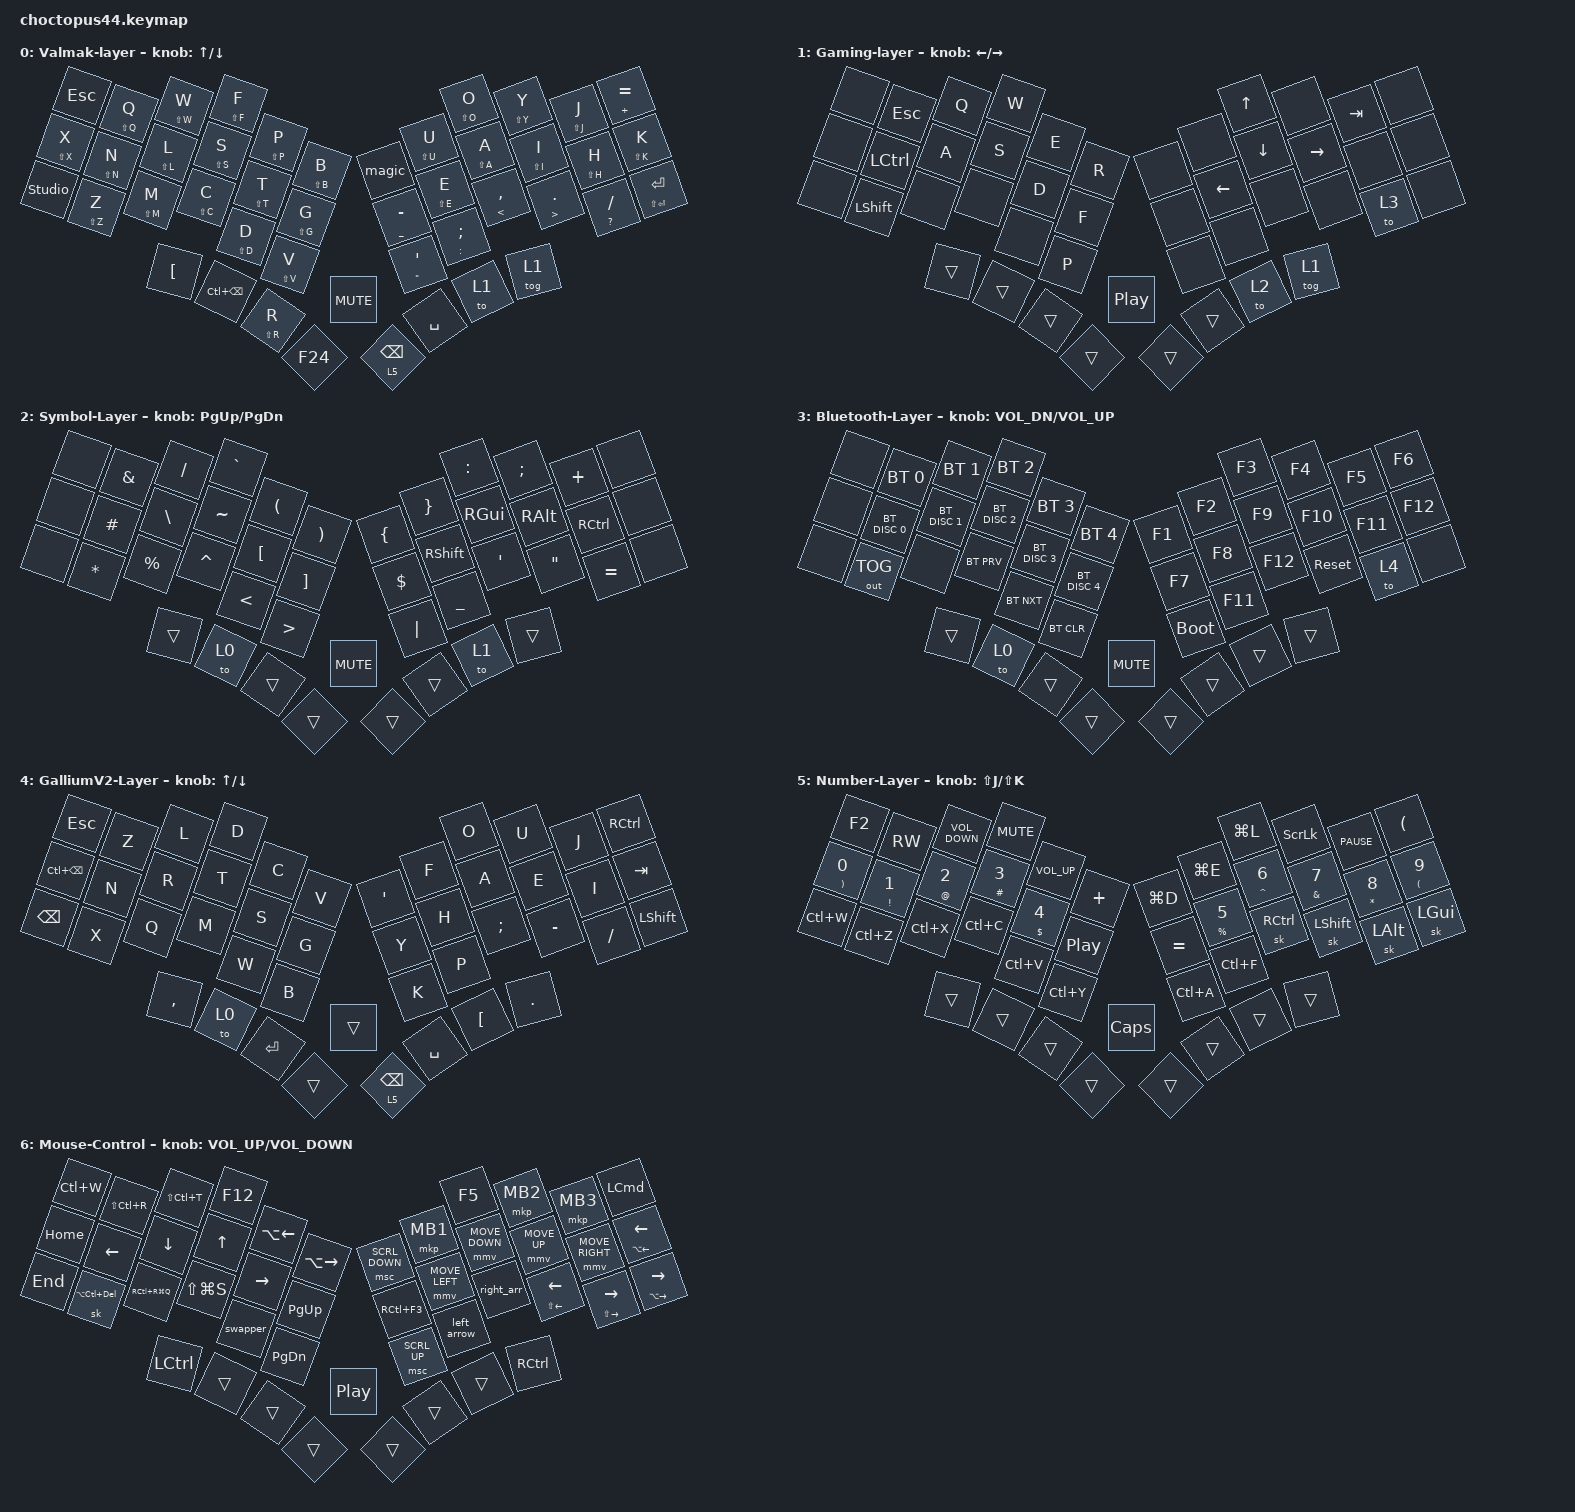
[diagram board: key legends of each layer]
/*
 * Copyright (c) 2021 The ZMK Contributors
 *
 * SPDX-License-Identifier: MIT
 */

#include <dt-bindings/zmk/mouse.h>
#include <behaviors.dtsi>
#include <dt-bindings/zmk/bt.h>
#include <dt-bindings/zmk/keys.h>
#include <dt-bindings/zmk/outputs.h>
#include <dt-bindings/zmk/pointing.h>

#define COMBO_TIMEOUT 60
#define BT0 BT_SEL 0
#define BT1 BT_SEL 1
#define BT2 BT_SEL 2
#define BT3 BT_SEL 3
#define BT4 BT_SEL 4

// ============================================================
// MAGIC KEY — requires zmk-adaptive-key module by urob
// Add to west.yml:
//   remotes:
//     - name: urob
//       url-base: https://github.com/urob
//   projects:
//     - name: zmk-adaptive-key
//       remote: urob
//       revision: v0.3   ← match your ZMK version
// ============================================================

&mt { tapping-term-ms = <500>; };

&lt { tapping-term-ms = <180>; };

&sk {
    release-after-ms = <3000>;
    quick-release;
};

&caps_word { continue-list = <UNDERSCORE MINUS SPACE BACKSPACE>; };

/ {
    combos {
        compatible = "zmk,combos";

        combo-bt_clral {
            bindings = <&bt BT_CLR_ALL>;
            key-positions = <25 26 27 35 34 33>;
        };

        combo-capslock {
            bindings = <&caps_word>;
            key-positions = <29 31>;
        };

        combo-question {
            bindings = <&kp QUESTION>;
            key-positions = <28 29>;
        };

        combo-exclamation {
            bindings = <&kp EXCL>;
            key-positions = <31 32>;
        };

        combo-chinese {
            bindings = <&kp LC(GRAVE)>;
            key-positions = <5 6>;
        };

        combo-winlock {
            bindings = <&kp LG(L)>;
            key-positions = <7 8 9>;
        };

        combo-bt_clear {
            bindings = <&bt BT_CLR>;
            key-positions = <0 29>;
        };

        combo-winswap {
            bindings = <&kp LG(LA(TAB))>;
            key-positions = <4 3 2>;
        };

        combo-Lcontrol {
            bindings = <&kp LEFT_CONTROL>;
            key-positions = <16 28>;
        };

        combo-Rcontrol {
            bindings = <&kp RIGHT_CONTROL>;
            key-positions = <19 32>;
            layers = <0 2 3 4 5 6>;
        };

        combo-Lshift {
            bindings = <&kp LEFT_SHIFT>;
            key-positions = <15 27>;
            layers = <0 2 3 4 5 6>;
        };

        combo-Rshift {
            bindings = <&kp RIGHT_SHIFT>;
            key-positions = <20 33>;
            layers = <0 2 3 4 5 6>;
        };

        combo-Lgui {
            bindings = <&kp LEFT_GUI>;
            key-positions = <14 26>;
        };

        combo-Rgui {
            bindings = <&kp RIGHT_GUI>;
            key-positions = <21 34>;
        };

        combo-Lalt {
            bindings = <&kp LEFT_ALT>;
            key-positions = <13 25>;
        };

        combo-Ralt {
            bindings = <&kp RIGHT_ALT>;
            key-positions = <22 35>;
        };

        combo-tab {
            bindings = <&kp TAB>;
            key-positions = <17 18>;
        };
    };

    // ============================================================
    // MAGIC KEY MACROS
    // Each macro outputs the "alternate" character for a bigram.
    // e.g. after typing N, pressing magic → L  (avoids NL SFB)
    // ============================================================

    macros {
        //personal email (h → uonan2015@gmail.com)

        magic_uo: magic_uo {
            compatible = "zmk,behavior-macro";
            label = "MAGIC_UO";
            #binding-cells = <0>;
            bindings = <&kp U &kp O &kp N &kp A &kp N &kp NUMBER_2 &kp N0 &kp NUMBER_1 &kp NUMBER_5 &kp AT &kp G &kp M &kp A &kp I &kp L &kp DOT &kp C &kp O &kp M>;
        };

        // Trigram briefs (space/enter → THE)

        magic_the: magic_the {
            compatible = "zmk,behavior-macro";
            label = "MAGIC_THE";
            #binding-cells = <0>;
            bindings = <&kp T &kp H &kp E>;
        };

        // I → ON  (covers ION trigram)

        magic_on: magic_on {
            compatible = "zmk,behavior-macro";
            label = "MAGIC_ON";
            #binding-cells = <0>;
            bindings = <&kp O &kp N>;
        };

        // T → MENT

        magic_ment: magic_ment {
            compatible = "zmk,behavior-macro";
            label = "MAGIC_MENT";
            #binding-cells = <0>;
            bindings = <&kp M &kp E &kp N &kp T>;
        };

        // A → ND  (for AND via repeat-key style; also useful standalone)

        magic_nd: magic_nd {
            compatible = "zmk,behavior-macro";
            label = "MAGIC_ND";
            #binding-cells = <0>;
            bindings = <&kp N &kp D>;
        };

        // I → NG  (for ING)

        magic_ng: magic_ng {
            compatible = "zmk,behavior-macro";
            label = "MAGIC_NG";
            #binding-cells = <0>;
            bindings = <&kp N &kp G>;
        };

        // N → YU  (for NYU)

        magic_yu: magic_yu {
            compatible = "zmk,behavior-macro";
            label = "MAGIC_YU";
            #binding-cells = <0>;
            bindings = <&kp Y &kp U>;
        };

        // FOR brief (space/enter alternate — second binding priority)

        magic_for: magic_for {
            compatible = "zmk,behavior-macro";
            label = "MAGIC_FOR";
            #binding-cells = <0>;
            bindings = <&kp F &kp O &kp R>;
        };

        // Period → space + capitalize next letter

        magic_period: magic_period {
            compatible = "zmk,behavior-macro";
            label = "MAGIC_PERIOD";
            #binding-cells = <0>;
            bindings = <&kp SPACE &sk LEFT_SHIFT>;
        };
    };

    behaviors {
        // ============================================================
        // MAGIC KEY BEHAVIOR
        // Placed on the Z key position (bottom-left, left hand).
        // Outputs a context-sensitive alternate character based on
        // the last key typed, targeting Valmak's SFBs.
        //
        // Valmak left hand columns (index→pinky):
        //   index:  R / T / G / D / V
        //   middle: S / L / C / M
        //   ring:   F / N / W
        //   pinky:  P / X / Z (magic replaces Z)
        //
        // Key SFB targets in Valmak:
        //   P → L  
        //   W → N
        //   S → C  (middle finger SC bigram)
        //   C/F → L  
        //   A → O  (vowel alternation)
        //   E → U  (vowel alternation)
        //   I → ON (ION trigram)
        //   T → MENT (suffix brief)
        //   Y → OU  (YOU trigram)
        //   SPACE/RET → THE (trigram brief)
        // ============================================================

        magic: magic_key {
            compatible = "zmk,behavior-adaptive-key";
            label = "MAGIC_KEY";
            #binding-cells = <0>;
            bindings = <&none>;

            ld {
                trigger-keys = <L>;
                bindings = <&kp D>;
            };

            pl {
                trigger-keys = <P>;
                bindings = <&kp L>;
            };

            wn {
                trigger-keys = <W>;
                bindings = <&kp N>;
            };

            // ── SFB eliminations ──────────────────────────────────
            // S → C  (SC same-finger bigram on Valmak middle)

            sc {
                trigger-keys = <S>;
                bindings = <&kp C>;
            };

            // C/F → L  (left-index column → Y, avoids index SFBs)

            cfl {
                trigger-keys = <C F>;
                bindings = <&kp L>;
            };

            // ── Vowel alternations ────────────────────────────────
            // E → U

            eu {
                trigger-keys = <E>;
                bindings = <&kp U>;
            };

            // ── Trigram / suffix briefs ───────────────────────────
            // I → ON  (covers ION)

            ion {
                trigger-keys = <I>;
                bindings = <&magic_on>;
            };

            // H → uonan2015@gmail.com

            hpersonalemail {
                trigger-keys = <H>;
                bindings = <&magic_uo>;
            };

            // A → ND

            and {
                trigger-keys = <A>;
                bindings = <&magic_nd>;
            };

            // T → MENT

            tment {
                trigger-keys = <T>;
                bindings = <&magic_ment>;
            };

            // N → YU  (covers NYU)

            nyu {
                trigger-keys = <N>;
                bindings = <&magic_yu>;
            };

            // SPACE or ENTER → THE

            the {
                trigger-keys = <SPACE RET>;
                bindings = <&magic_the>;
            };

            period {
                trigger-keys = <PERIOD>;
                bindings = <&magic_period>;
            };
        };

        // ============================================================
        // AUTOSHIFT BEHAVIORS
        // ============================================================

        as: autoshift {
            compatible = "zmk,behavior-hold-tap";
            label = "AUTOSHIFT";
            #binding-cells = <2>;
            tapping-term-ms = <220>;
            quick-tap-ms = <0>;
            flavor = "tap-preferred";
            bindings = <&kp>, <&kp>;
        };

        hold_shift: hold_shift {
            compatible = "zmk,behavior-smart-toggle";
            #binding-cells = <0>;
            bindings = <&kp RSHIFT>, <&none>;
        };

        smart_moveline: smart_moveline {
            compatible = "zmk,behavior-smart-toggle";
            #binding-cells = <0>;
            bindings = <&kp RG(RALT)>, <&none>;
        };

        td_esc: tap_dance_esc {
            compatible = "zmk,behavior-tap-dance";
            label = "TAP_DANCE_ESC";
            #binding-cells = <0>;
            tapping-term-ms = <200>;
            bindings = <&kp LALT>, <&kp ESC>;
        };

        hm: homerow_mods {
            compatible = "zmk,behavior-hold-tap";
            label = "HOMEROW_MODS";
            #binding-cells = <2>;
            tapping-term-ms = <400>;
            quick-tap-ms = <0>;
            flavor = "tap-preferred";
            bindings = <&kp>, <&kp>;
        };

        bspc_del: backspace_delete {
            compatible = "zmk,behavior-mod-morph";
            label = "BACKSPACE_DELETE";
            #binding-cells = <0>;
            bindings = <&kp BACKSPACE>, <&kp DELETE>;

            mods = <(MOD_LSFT|MOD_RSFT)>;
        };

        ht_hl: holdtap_homerowlayer {
            compatible = "zmk,behavior-hold-tap";
            label = "HOLDTAP_HOMELAY";
            #binding-cells = <2>;
            tapping-term-ms = <225>;
            flavor = "tap-preferred";
            require-prior-idle-ms = <125>;
            bindings = <&mo>, <&kp>;

            quick-tap-ms = <125>;
        };

        ht_shift: ht_shift {
            compatible = "zmk,behavior-hold-tap";
            label = "HT_SHIFT";
            bindings = <&kp>, <&kp>;

            #binding-cells = <2>;
            tapping-term-ms = <130>;
            flavor = "tap-preferred";
        };

        bsp_word: bsp_word {
            compatible = "zmk,behavior-mod-morph";
            label = "BSP_WORD";
            bindings = <&kp LA(BACKSPACE)>, <&kp LA(DELETE)>;

            #binding-cells = <0>;
            mods = <(MOD_LSFT|MOD_RSFT)>;
        };

        td_semic: td_semic {
            compatible = "zmk,behavior-tap-dance";
            label = "TD_SEMIC";
            #binding-cells = <0>;
            bindings = <&kp COMMA>, <&kp SEMI>;

            tapping-term-ms = <250>;
        };

        td_shiftCW: td_shiftCW {
            compatible = "zmk,behavior-tap-dance";
            label = "TD_SHIFTCW";
            #binding-cells = <0>;
            bindings = <&sk RIGHT_SHIFT>, <&caps_word>;

            tapping-term-ms = <300>;
        };

        left_arrow: left_arrow {
            compatible = "zmk,behavior-tap-dance";
            label = "LEFT_ARROW";
            #binding-cells = <0>;
            bindings = <&kp LEFT>, <&kp LG(LEFT_ARROW)>;

            tapping-term-ms = <225>;
        };

        right_arr: right_arr {
            compatible = "zmk,behavior-tap-dance";
            label = "RIGHT_ARR";
            #binding-cells = <0>;
            bindings = <&kp RIGHT>, <&kp LG(RIGHT)>;

            tapping-term-ms = <225>;
        };

        left_taphold: left_taphold {
            compatible = "zmk,behavior-hold-tap";
            label = "LEFT_TAPHOLD";
            bindings = <&kp>, <&kp>;

            #binding-cells = <2>;
            tapping-term-ms = <250>;
            flavor = "tap-preferred";
        };

        rght_taphold: rght_taphold {
            compatible = "zmk,behavior-hold-tap";
            label = "RGHT_TAPHOLD";
            bindings = <&kp>, <&kp>;

            #binding-cells = <2>;
            tapping-term-ms = <250>;
            flavor = "tap-preferred";
        };

        ht_hyper: ht_hyper {
            compatible = "zmk,behavior-hold-tap";
            label = "HT_HYPER";
            #binding-cells = <2>;
            tapping-term-ms = <225>;
            flavor = "tap-preferred";
            require-prior-idle-ms = <125>;
            quick-tap-ms = <125>;
            bindings = <&sk>, <&kp>;
        };

        mod_slash: mod_slash {
            compatible = "zmk,behavior-mod-morph";
            label = "MOD_SLASH";
            bindings = <&kp KP_SLASH>, <&kp BACKSLASH>;

            #binding-cells = <0>;
            mods = <(MOD_LSFT|MOD_RSFT)>;
        };

        pht_L2shift: pht_L2shift {
            compatible = "zmk,behavior-hold-tap";
            label = "PHT_L2SHIFT";
            bindings = <&kp>, <&kp>;

            #binding-cells = <2>;
            tapping-term-ms = <120>;
            flavor = "tap-preferred";
            hold-trigger-key-positions = <30 31 32 5 15 25 5 6 7 8 9 15 16 17 18 19 25 26 27 28 29>;
        };

        ArrowSelect: ArrowSelect {
            compatible = "zmk,behavior-hold-tap";
            label = "ARROWSELECT";
            bindings = <&kp>, <&kp>;

            #binding-cells = <2>;
            tapping-term-ms = <280>;
            flavor = "tap-preferred";
        };

        mod_qmarkcolon: mod_qmarkcolon {
            compatible = "zmk,behavior-mod-morph";
            label = "MOD_QMARKCOLON";
            bindings = <&kp QUESTION>, <&kp COLON>;

            #binding-cells = <0>;
            mods = <(MOD_LSFT|MOD_RSFT)>;
        };

        ht_capsword: ht_capsword {
            compatible = "zmk,behavior-hold-tap";
            label = "HT_CAPSWORD";
            bindings = <&kp>, <&caps_word>;

            #binding-cells = <2>;
            tapping-term-ms = <150>;
        };

        swapper: swapper {
            compatible = "zmk,behavior-smart-toggle";
            #binding-cells = <0>;
            bindings = <&kp RGUI>, <&kp TAB>;

            label = "SWAPPER";
        };

        ht_swapper: ht_swapper {
            compatible = "zmk,behavior-hold-tap";
            label = "HT_SWAPPER";
            bindings = <&mo>, <&swapper>;

            #binding-cells = <2>;
            tapping-term-ms = <150>;
        };

        bh: layer_taps {
            compatible = "zmk,behavior-hold-tap";
            label = "Layer-Tap";
            #binding-cells = <2>;
            tapping-term-ms = <215>;
            flavor = "tap-preferred";
            bindings = <&mo>, <&kp>;
        };

        sm: shift_mods {
            compatible = "zmk,behavior-hold-tap";
            label = "SHIFT_MODS";
            #binding-cells = <2>;
            tapping-term-ms = <170>;
            quick-tap-ms = <0>;
            flavor = "hold-preferred";
            bindings = <&kp>, <&kp>;
        };
    };

    keymap {
        compatible = "zmk,keymap";

        Valmak-layer {
            bindings = <
&kp ESC         &as LS(Q) Q  &as LS(W) W       &as LS(F) F        &as LS(P) P  &as LS(B) B              &magic                  &as LS(U) U     &as LS(O) O          &as LS(Y) Y              &as LS(J) J         &as PLUS EQUAL
&as LS(X) X     &as LS(N) N  &as LS(L) L       &as LS(S) S        &as LS(T) T  &as LS(G) G              &as UNDER MINUS         &as LS(E) E     &as LS(A) A          &as LS(I) I              &as LS(H) H         &as LS(K) K
&studio_unlock  &as LS(Z) Z  &as LS(M) M       &as LS(C) C        &as LS(D) D  &as LS(V) V  &kp K_MUTE  &as DOUBLE_QUOTES APOS  &as COLON SEMI  &as LESS_THAN COMMA  &as GREATER_THAN PERIOD  &as QUESTION SLASH  &left_taphold LS(ENTER) ENTER
                             &kp LEFT_BRACKET  &kp LC(BACKSPACE)  &as LS(R) R  &kp F24                   &lt 5 BACKSPACE         &kp SPACE       &to 1                &tog 1
            >;

            sensor-bindings = <&inc_dec_kp UP DOWN>;
        };

        Gaming-layer {
            bindings = <
&none  &kp ESC           &kp Q   &kp W   &kp E   &kp R                     &none   &none     &kp UP_ARROW  &none      &kp TAB  &none
&none  &kp LEFT_CONTROL  &kp A   &kp S   &kp D   &kp F                     &none   &kp LEFT  &kp DOWN      &kp RIGHT  &none    &none
&none  &kp LEFT_SHIFT    &none   &none   &none   &kp P   &kp C_PLAY_PAUSE  &none   &none     &none         &none      &to 3    &none
                         &trans  &trans  &trans  &trans                    &trans  &trans    &to 2         &tog 1
            >;

            sensor-bindings = <&inc_dec_kp LEFT RIGHT>;
        };

        Symbol-Layer {
            bindings = <
&none  &kp AMPS   &kp FSLH       &kp GRAVE  &kp LEFT_PARENTHESIS  &kp RIGHT_PARENTHESIS              &kp LEFT_BRACE  &kp RIGHT_BRACE  &kp COLON         &kp SEMI           &kp PLUS   &none
&none  &kp HASH   &kp BACKSLASH  &kp TILDE  &kp LEFT_BRACKET      &kp RIGHT_BRACKET                  &kp DOLLAR      &kp RIGHT_SHIFT  &kp RGUI          &kp RALT           &kp RCTRL  &none
&none  &kp ASTRK  &kp PERCENT    &kp CARET  &kp LT                &kp GREATER_THAN       &kp C_MUTE  &kp PIPE        &kp UNDER        &kp SINGLE_QUOTE  &kp DOUBLE_QUOTES  &kp EQUAL  &none
                  &trans         &to 0      &trans                &trans                             &trans          &trans           &to 1             &trans
            >;

            sensor-bindings = <&inc_dec_kp PG_UP PG_DN>;
        };

        Bluetooth-Layer {
            bindings = <
&none  &bt BT_SEL 0   &bt BT_SEL 1   &bt BT_SEL 2   &bt BT_SEL 3   &bt BT_SEL 4               &kp F1       &kp F2   &kp F3   &kp F4      &kp F5   &kp F6
&none  &bt BT_DISC 0  &bt BT_DISC 1  &bt BT_DISC 2  &bt BT_DISC 3  &bt BT_DISC 4              &kp F7       &kp F8   &kp F9   &kp F10     &kp F11  &kp F12
&none  &out OUT_TOG   &none          &bt BT_PRV     &bt BT_NXT     &bt BT_CLR     &kp C_MUTE  &bootloader  &kp F11  &kp F12  &sys_reset  &to 4    &none
                      &trans         &to 0          &trans         &trans                     &trans       &trans   &trans   &trans
            >;

            sensor-bindings = <&inc_dec_kp C_VOL_DN C_VOL_UP>;
        };

        GalliumV2-Layer {
            bindings = <
&kp ESC            &kp Z  &kp L      &kp D  &kp C      &kp V           &kp SINGLE_QUOTE  &kp F      &kp O             &kp U       &kp J      &kp RIGHT_CONTROL
&kp LC(BACKSPACE)  &kp N  &kp R      &kp T  &kp S      &kp G           &kp Y             &kp H      &kp A             &kp E       &kp I      &kp TAB
&kp BACKSPACE      &kp X  &kp Q      &kp M  &kp W      &kp B   &trans  &kp K             &kp P      &kp SEMI          &kp MINUS   &kp SLASH  &kp LEFT_SHIFT
                          &kp COMMA  &to 0  &kp ENTER  &trans          &lt 5 BACKSPACE   &kp SPACE  &kp LEFT_BRACKET  &kp PERIOD
            >;

            sensor-bindings = <&inc_dec_kp UP_ARROW DOWN_ARROW>;
        };

        Number-Layer {
            bindings = <
&kp F2                          &kp C_RW                  &kp C_VOLUME_DOWN  &kp K_MUTE         &kp C_VOLUME_UP      &kp PLUS                    &kp LG(D)  &kp LG(E)             &kp LG(L)           &kp SCROLLLOCK          &kp C_PAUSE            &kp LEFT_PARENTHESIS
&as RIGHT_PARENTHESIS NUMBER_0  &as EXCLAMATION NUMBER_1  &as AT NUMBER_2    &as HASH NUMBER_3  &as DOLLAR NUMBER_4  &kp C_PLAY_PAUSE            &kp EQUAL  &as PERCENT NUMBER_5  &as CARET NUMBER_6  &as AMPERSAND NUMBER_7  &as ASTERISK NUMBER_8  &as LEFT_PARENTHESIS NUMBER_9
&kp LC(W)                       &kp LC(Z)                 &kp LC(X)          &kp LC(C)          &kp LC(V)            &kp LC(Y)         &kp CAPS  &kp LC(A)  &kp LC(F)             &sk RIGHT_CONTROL   &sk LEFT_SHIFT          &sk LEFT_ALT           &sk LEFT_GUI
                                                          &trans             &trans             &trans               &trans                      &trans     &trans                &trans              &trans
            >;

            sensor-bindings = <&inc_dec_kp LS(J) LS(K)>;
        };

        Mouse-Control {
            bindings = <
&kp LC(W)  &kp LS(LC(R))       &kp LS(LC(T))     &kp F12        &kp LA(LEFT)  &kp LA(RIGHT)            &msc SCRL_DOWN  &mkp MB1        &kp F5          &mkp MB2                          &mkp MB3                      &kp LEFT_COMMAND
&kp HOME   &kp LEFT            &kp DOWN          &kp UP_ARROW   &kp RIGHT     &kp PAGE_UP              &kp RC(F3)      &mmv MOVE_LEFT  &mmv MOVE_DOWN  &mmv MOVE_UP                      &mmv MOVE_RIGHT               &left_taphold LA(LEFT_ARROW) LEFT
&kp END    &sk LA(LC(DELETE))  &kp RC(RG(Q))     &kp LS(LG(S))  &swapper      &kp PAGE_DOWN  &kp C_PP  &msc SCRL_UP    &left_arrow     &right_arr      &ArrowSelect LS(LEFT) LEFT_ARROW  &ArrowSelect LS(RIGHT) RIGHT  &rght_taphold LA(RIGHT) RIGHT
                               &kp LEFT_CONTROL  &trans         &trans        &trans                   &trans          &trans          &trans          &kp RIGHT_CONTROL
            >;

            sensor-bindings = <&inc_dec_kp C_VOLUME_UP C_VOLUME_DOWN>;
        };

        extra1 { status = "reserved"; };

        extra2 { status = "reserved"; };

        extra3 { status = "reserved"; };

        extra4 { status = "reserved"; };

        extra5 { status = "reserved"; };
    };
};
